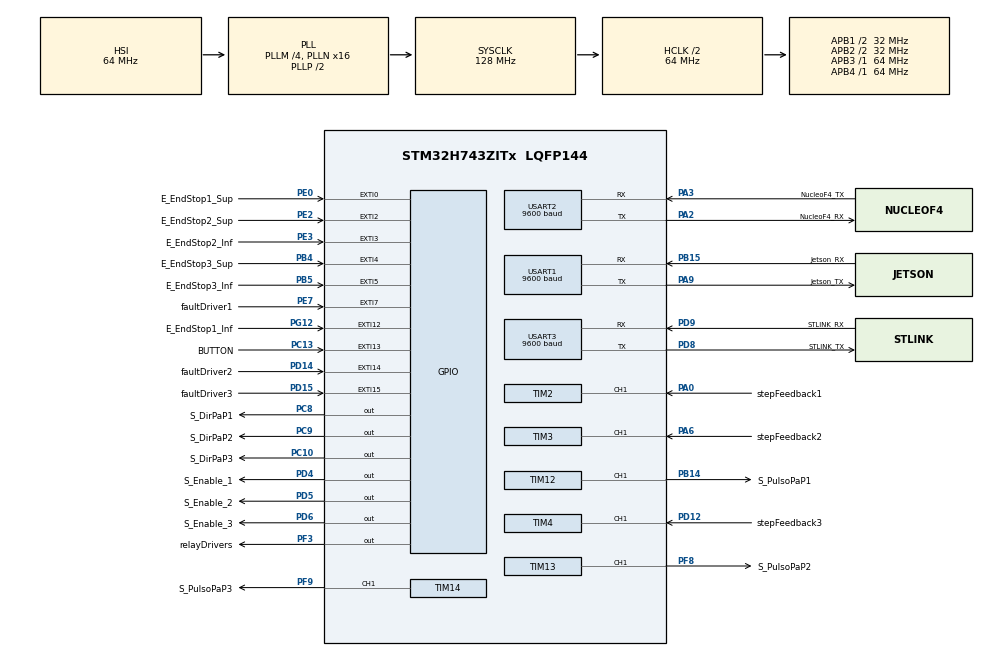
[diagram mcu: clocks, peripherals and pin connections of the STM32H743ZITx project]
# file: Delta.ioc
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Mcu.Family=STM32H7
Mcu.Name=STM32H743ZITx
Mcu.Package=LQFP144
NVIC.EXTI0_IRQn=true\:1\:0\:true\:false\:true\:true\:true\:true
NVIC.EXTI15_10_IRQn=true\:1\:0\:true\:false\:true\:true\:true\:true
NVIC.EXTI2_IRQn=true\:1\:0\:true\:false\:true\:true\:true\:true
NVIC.EXTI3_IRQn=true\:1\:0\:true\:false\:true\:true\:true\:true
NVIC.EXTI4_IRQn=true\:1\:0\:true\:false\:true\:true\:true\:true
NVIC.EXTI9_5_IRQn=true\:1\:0\:true\:false\:true\:true\:true\:true
NVIC.FPU_IRQn=true\:1\:0\:true\:false\:true\:true\:false\:true
NVIC.PriorityGroup=NVIC_PRIORITYGROUP_2
NVIC.TIM15_IRQn=true\:1\:0\:true\:false\:true\:true\:true\:true
NVIC.TIM2_IRQn=true\:1\:0\:true\:false\:true\:true\:true\:true
NVIC.TIM3_IRQn=true\:1\:0\:true\:false\:true\:true\:true\:true
NVIC.TIM4_IRQn=true\:1\:0\:true\:false\:true\:true\:true\:true
NVIC.USART3_IRQn=true\:1\:1\:true\:false\:true\:true\:true\:true
PA0.GPIO_Label=stepFeedback1
PA0.GPIO_ModeDefaultPP=GPIO_MODE_AF_PP
PA0.GPIO_PuPd=GPIO_NOPULL
PA0.GPIO_Speed=GPIO_SPEED_FREQ_LOW
PA0.Signal=S_TIM2_CH1_ETR
PA13\ (JTMS/SWDIO).Mode=Serial_Wire
PA13\ (JTMS/SWDIO).Signal=DEBUG_JTMS-SWDIO
PA14\ (JTCK/SWCLK).Mode=Serial_Wire
PA14\ (JTCK/SWCLK).Signal=DEBUG_JTCK-SWCLK
PA2.GPIO_Label=NucleoF4_RX
PA2.Mode=Asynchronous
PA2.Signal=USART2_TX
PA3.GPIO_Label=NucleoF4_TX
PA3.Mode=Asynchronous
PA3.Signal=USART2_RX
PA6.GPIO_Label=stepFeedback2
PA6.Signal=S_TIM3_CH1
PA9.GPIO_Label=Jetson_TX
PA9.Mode=Asynchronous
PA9.Signal=USART1_TX
PB14.GPIO_Label=S_PulsoPaP1
PB14.GPIO_ModeDefaultPP=GPIO_MODE_AF_PP
PB14.GPIO_PuPd=GPIO_NOPULL
PB14.Signal=S_TIM12_CH1
PB15.GPIO_Label=Jetson_RX
PB15.Mode=Asynchronous
PB15.Signal=USART1_RX
PB4\ (NJTRST).GPIO_Label=E_EndStop3_Sup
PB4\ (NJTRST).GPIO_ModeDefaultEXTI=GPIO_MODE_IT_FALLING
PB4\ (NJTRST).Signal=GPXTI4
PB5.GPIO_Label=E_EndStop3_Inf
PB5.GPIO_ModeDefaultEXTI=GPIO_MODE_IT_FALLING
PB5.Signal=GPXTI5
PC10.GPIO_Label=S_DirPaP3
PC10.GPIO_ModeDefaultOutputPP=GPIO_MODE_OUTPUT_PP
PC10.GPIO_PuPd=GPIO_NOPULL
PC10.Signal=GPIO_Output
PC13.GPIO_Label=BUTTON
PC13.GPIO_PuPd=GPIO_PULLDOWN
PC13.Signal=GPXTI13
PC14-OSC32_IN\ (OSC32_IN).Mode=LSE-External-Oscillator
PC14-OSC32_IN\ (OSC32_IN).Signal=RCC_OSC32_IN
PC15-OSC32_OUT\ (OSC32_OUT).Mode=LSE-External-Oscillator
PC15-OSC32_OUT\ (OSC32_OUT).Signal=RCC_OSC32_OUT
PC8.GPIO_Label=S_DirPaP1
PC8.GPIO_ModeDefaultOutputPP=GPIO_MODE_OUTPUT_PP
PC8.GPIO_PuPd=GPIO_NOPULL
PC8.Signal=GPIO_Output
PC9.GPIO_Label=S_DirPaP2
PC9.GPIO_ModeDefaultOutputPP=GPIO_MODE_OUTPUT_PP
PC9.GPIO_PuPd=GPIO_NOPULL
PC9.PinState=GPIO_PIN_RESET
PC9.Signal=GPIO_Output
PD12.GPIO_Label=stepFeedback3
PD12.Signal=S_TIM4_CH1
PD14.GPIO_Label=faultDriver2
PD14.GPIO_ModeDefaultEXTI=GPIO_MODE_IT_FALLING
PD14.GPIO_PuPd=GPIO_NOPULL
PD14.Signal=GPXTI14
PD15.GPIO_Label=faultDriver3
PD15.GPIO_ModeDefaultEXTI=GPIO_MODE_IT_FALLING
PD15.GPIO_PuPd=GPIO_NOPULL
PD15.Signal=GPXTI15
PD4.GPIO_Label=S_Enable_1
PD4.GPIO_ModeDefaultOutputPP=GPIO_MODE_OUTPUT_PP
PD4.GPIO_PuPd=GPIO_NOPULL
PD4.PinState=GPIO_PIN_RESET
PD4.Signal=GPIO_Output
PD5.GPIO_Label=S_Enable_2
PD5.GPIO_ModeDefaultOutputPP=GPIO_MODE_OUTPUT_OD
PD5.GPIO_PuPd=GPIO_NOPULL
PD5.PinState=GPIO_PIN_RESET
PD5.Signal=GPIO_Output
PD6.GPIO_Label=S_Enable_3
PD6.GPIO_ModeDefaultOutputPP=GPIO_MODE_OUTPUT_OD
PD6.GPIO_PuPd=GPIO_NOPULL
PD6.PinState=GPIO_PIN_RESET
PD6.Signal=GPIO_Output
PD8.GPIO_Label=STLINK_TX
PD8.Mode=Asynchronous
PD8.Signal=USART3_TX
PD9.GPIO_Label=STLINK_RX
PD9.Mode=Asynchronous
PD9.Signal=USART3_RX
PE0.GPIO_Label=E_EndStop1_Sup
PE0.GPIO_ModeDefaultEXTI=GPIO_MODE_IT_FALLING
PE0.GPIO_PuPd=GPIO_NOPULL
PE0.Signal=GPXTI0
PE2.GPIO_Label=E_EndStop2_Sup
PE2.GPIO_ModeDefaultEXTI=GPIO_MODE_IT_FALLING
PE2.GPIO_PuPd=GPIO_NOPULL
PE2.Signal=GPXTI2
PE3.GPIO_Label=E_EndStop2_Inf
PE3.GPIO_ModeDefaultEXTI=GPIO_MODE_IT_FALLING
PE3.GPIO_PuPd=GPIO_NOPULL
PE3.Signal=GPXTI3
PE7.GPIO_Label=faultDriver1
PE7.GPIO_ModeDefaultEXTI=GPIO_MODE_IT_FALLING
PE7.GPIO_PuPd=GPIO_NOPULL
PE7.Signal=GPXTI7
PF3.GPIO_Label=relayDrivers
PF3.Signal=GPIO_Output
PF8.GPIO_Label=S_PulsoPaP2
PF8.GPIO_ModeDefaultPP=GPIO_MODE_AF_PP
PF8.GPIO_PuPd=GPIO_NOPULL
PF8.Signal=S_TIM13_CH1
PF9.GPIO_Label=S_PulsoPaP3
PF9.GPIO_ModeDefaultPP=GPIO_MODE_AF_PP
PF9.GPIO_PuPd=GPIO_NOPULL
PF9.Signal=S_TIM14_CH1
PG12.GPIO_Label=E_EndStop1_Inf
PG12.GPIO_ModeDefaultEXTI=GPIO_MODE_IT_FALLING
PG12.GPIO_PuPd=GPIO_NOPULL
PG12.Signal=GPXTI12
PH0-OSC_IN\ (PH0).Mode=HSE-External-Oscillator
PH0-OSC_IN\ (PH0).Signal=RCC_OSC_IN
PH1-OSC_OUT\ (PH1).Mode=HSE-External-Oscillator
PH1-OSC_OUT\ (PH1).Signal=RCC_OSC_OUT
ProjectManager.HeapSize=0x200
ProjectManager.StackSize=0x400
ProjectManager.TargetToolchain=STM32CubeIDE
RCC.ADCFreq_Value=129000000
RCC.APB1Freq_Value=32000000
RCC.APB2Freq_Value=32000000
RCC.APB3Freq_Value=64000000
RCC.APB4Freq_Value=64000000
RCC.CortexFreq_Value=128000000
RCC.D2PPRE1=RCC_APB1_DIV2
RCC.D2PPRE2=RCC_APB2_DIV2
RCC.DIVM1=4
RCC.DIVN1=16
RCC.HCLKFreq_Value=64000000
RCC.HPRE=RCC_HCLK_DIV2
RCC.PLLFRACN=0
RCC.SYSCLKFreq_VALUE=128000000
RCC.SYSCLKSource=RCC_SYSCLKSOURCE_PLLCLK
RCC.USBFreq_Value=128000000
SH.S_TIM12_CH1.0=TIM12_CH1,PWM Generation1 CH1
SH.S_TIM13_CH1.0=TIM13_CH1,PWM Generation1 CH1
SH.S_TIM14_CH1.0=TIM14_CH1,PWM Generation1 CH1
SH.S_TIM2_CH1_ETR.0=TIM2_CH1,Input_Capture1_from_TI1
SH.S_TIM3_CH1.0=TIM3_CH1,Input_Capture1_from_TI1
SH.S_TIM4_CH1.0=TIM4_CH1,Input_Capture1_from_TI1
TIM12.AutoReloadPreload=TIM_AUTORELOAD_PRELOAD_DISABLE
TIM12.Channel-PWM\ Generation1\ CH1=TIM_CHANNEL_1
TIM12.Period=0
TIM12.Prescaler=64-1
TIM12.Pulse-PWM\ Generation1\ CH1=0
TIM13.AutoReloadPreload=TIM_AUTORELOAD_PRELOAD_DISABLE
TIM13.Channel=TIM_CHANNEL_1
TIM13.Period=0
TIM13.Prescaler=64-1
TIM13.Pulse=0
TIM14.AutoReloadPreload=TIM_AUTORELOAD_PRELOAD_DISABLE
TIM14.Channel=TIM_CHANNEL_1
TIM14.Period=0
TIM14.Prescaler=64-1
TIM14.Pulse=0
TIM15.Period=64000
TIM2.AutoReloadPreload=TIM_AUTORELOAD_PRELOAD_DISABLE
TIM2.Channel-Input_Capture1_from_TI1=TIM_CHANNEL_1
TIM2.ICPolarity_CH1=TIM_INPUTCHANNELPOLARITY_RISING
TIM2.Period=65535
TIM2.Prescaler=0
TIM3.Channel-Input_Capture1_from_TI1=TIM_CHANNEL_1
TIM4.Channel-Input_Capture1_from_TI1=TIM_CHANNEL_1
TIM5.Prescaler=0
USART1.BaudRate=9600
USART1.VirtualMode-Asynchronous=VM_ASYNC
USART2.BaudRate=9600
USART2.VirtualMode-Asynchronous=VM_ASYNC
USART3.BaudRate=9600
USART3.VirtualMode-Asynchronous=VM_ASYNC
VP_TIM12_VS_ClockSourceINT.Mode=Internal
VP_TIM13_VS_ClockSourceINT.Mode=Enable_Timer
VP_TIM14_VS_ClockSourceINT.Mode=Enable_Timer
VP_TIM15_VS_ClockSourceINT.Mode=Internal
VP_TIM2_VS_ClockSourceINT.Mode=Internal
VP_TIM3_VS_ClockSourceINT.Mode=Internal
VP_TIM4_VS_ClockSourceINT.Mode=Internal
VP_TIM5_VS_ClockSourceINT.Mode=Internal
board=NUCLEO-H743ZI2

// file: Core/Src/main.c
/* USER CODE BEGIN Header */
/**
 ******************************************************************************
 * @file           : main.c
 * @brief          : Main program body
 ******************************************************************************
 * @attention
 *
 * <h2><center>&copy; Copyright (c) 2020 STMicroelectronics.
 * All rights reserved.</center></h2>
 *
 * This software component is licensed by ST under BSD 3-Clause license,
 * the "License"; You may not use this file except in compliance with the
 * License. You may obtain a copy of the License at:
 *                        opensource.org/licenses/BSD-3-Clause
 *
 ******************************************************************************
 */
/* USER CODE END Header */
#include "main.h"
#include "tim.h"
#include "usart.h"
#include "gpio.h"

/* USER CODE BEGIN Includes */
#include <string.h>
#include "stdio.h"
#include "stdlib.h"
#include "math.h"
#include "motor.h"
#include "homing.h"
#include "interpretaComando.h"
#include "statesMachine.h"
#include "trajectory.h"
//#include "inverseJacobian.h"
/* USER CODE END Includes */

/* USER CODE BEGIN PV */
Motor motor1, motor2,motor3;

double time;
uint8_t cm0;				//Flag start transmit

/* USER CODE END PV */

void SystemClock_Config(void);

int main(void)
{

  /* MCU Configuration--------------------------------------------------------*/

  /* Reset of all peripherals, Initializes the Flash interface and the Systick. */
  HAL_Init();

  /* Configure the system clock */
  SystemClock_Config();

  /* Initialize all configured peripherals */
  MX_GPIO_Init();
  MX_TIM2_Init();
  MX_USART3_UART_Init();
  MX_TIM12_Init();
  MX_TIM13_Init();
  MX_TIM14_Init();
  MX_TIM5_Init();
  MX_TIM15_Init();
  MX_USART2_UART_Init();
  MX_USART1_UART_Init();
  MX_TIM3_Init();
  MX_TIM4_Init();

  /* Infinite loop */
	while (1) {

    /* USER CODE BEGIN 3 */

		statesMachineLoop();

	}

  /* USER CODE END 3 */
}

void SystemClock_Config(void)
{
  RCC_OscInitTypeDef RCC_OscInitStruct = {0};
  RCC_ClkInitTypeDef RCC_ClkInitStruct = {0};

  /** Supply configuration update enable
  */
  HAL_PWREx_ConfigSupply(PWR_LDO_SUPPLY);

  /** Configure the main internal regulator output voltage
  */
  __HAL_PWR_VOLTAGESCALING_CONFIG(PWR_REGULATOR_VOLTAGE_SCALE3);

  while(!__HAL_PWR_GET_FLAG(PWR_FLAG_VOSRDY)) {}

  /** Initializes the RCC Oscillators according to the specified parameters
  * in the RCC_OscInitTypeDef structure.
  */
  RCC_OscInitStruct.OscillatorType = RCC_OSCILLATORTYPE_HSI;
  RCC_OscInitStruct.HSIState = RCC_HSI_DIV1;
  RCC_OscInitStruct.HSICalibrationValue = RCC_HSICALIBRATION_DEFAULT;
  RCC_OscInitStruct.PLL.PLLState = RCC_PLL_ON;
  RCC_OscInitStruct.PLL.PLLSource = RCC_PLLSOURCE_HSI;
  RCC_OscInitStruct.PLL.PLLM = 4;
  RCC_OscInitStruct.PLL.PLLN = 16;
  RCC_OscInitStruct.PLL.PLLP = 2;
  RCC_OscInitStruct.PLL.PLLQ = 2;
  RCC_OscInitStruct.PLL.PLLR = 2;
  RCC_OscInitStruct.PLL.PLLRGE = RCC_PLL1VCIRANGE_3;
  RCC_OscInitStruct.PLL.PLLVCOSEL = RCC_PLL1VCOWIDE;
  RCC_OscInitStruct.PLL.PLLFRACN = 0;
  if (HAL_RCC_OscConfig(&RCC_OscInitStruct) != HAL_OK)
  {
    Error_Handler();
  }

  /** Initializes the CPU, AHB and APB buses clocks
  */
  RCC_ClkInitStruct.ClockType = RCC_CLOCKTYPE_HCLK|RCC_CLOCKTYPE_SYSCLK
                              |RCC_CLOCKTYPE_PCLK1|RCC_CLOCKTYPE_PCLK2
                              |RCC_CLOCKTYPE_D3PCLK1|RCC_CLOCKTYPE_D1PCLK1;
  RCC_ClkInitStruct.SYSCLKSource = RCC_SYSCLKSOURCE_PLLCLK;
  RCC_ClkInitStruct.SYSCLKDivider = RCC_SYSCLK_DIV1;
  RCC_ClkInitStruct.AHBCLKDivider = RCC_HCLK_DIV2;
  RCC_ClkInitStruct.APB3CLKDivider = RCC_APB3_DIV1;
  RCC_ClkInitStruct.APB1CLKDivider = RCC_APB1_DIV2;
  RCC_ClkInitStruct.APB2CLKDivider = RCC_APB2_DIV2;
  RCC_ClkInitStruct.APB4CLKDivider = RCC_APB4_DIV1;

  if (HAL_RCC_ClockConfig(&RCC_ClkInitStruct, FLASH_LATENCY_1) != HAL_OK)
  {
    Error_Handler();
  }
}

/* USER CODE BEGIN 4 */
void HAL_GPIO_EXTI_Callback(uint16_t GPIO_Pin) {

	switch( GPIO_Pin){

		 case E_EndStop1_Inf_Pin:

			 Stop_PWM_MOTOR_1;
			 Stop_PWM_MOTOR_2;
			 Stop_PWM_MOTOR_3;

			 HAL_TIM_Base_Stop_IT(&htim15);
			 HAL_TIM_Base_Stop(&htim5);

			 HAL_TIM_IC_Stop(&htim2, TIM_CHANNEL_1);
			 HAL_TIM_IC_Stop(&htim3, TIM_CHANNEL_1);
			 HAL_TIM_IC_Stop(&htim4, TIM_CHANNEL_1);

			 endStopAlarmInf = true;
			 HAL_UART_Transmit(&huart3,(uint8_t*)"S5\n", 4, 100);
			 state = FAULT;
			 break;

		 case E_EndStop1_Sup_Pin:
			 Stop_PWM_MOTOR_1;
			 Stop_PWM_MOTOR_2;
			 Stop_PWM_MOTOR_3;

			 HAL_TIM_Base_Stop_IT(&htim15);
			 HAL_TIM_Base_Stop(&htim5);

			 HAL_TIM_IC_Stop(&htim2, TIM_CHANNEL_1);
			 HAL_TIM_IC_Stop(&htim3, TIM_CHANNEL_1);
			 HAL_TIM_IC_Stop(&htim4, TIM_CHANNEL_1);

			 upperESalarm = true;
			 HAL_UART_Transmit(&huart3,(uint8_t*)"S5\n", 4, 100);
			 state = FAULT;
			 break;

		 case E_EndStop2_Inf_Pin:
			 Stop_PWM_MOTOR_1;
			 Stop_PWM_MOTOR_2;
			 Stop_PWM_MOTOR_3;

			 HAL_TIM_Base_Stop_IT(&htim15);
			 HAL_TIM_Base_Stop(&htim5);

			 HAL_TIM_IC_Stop(&htim2, TIM_CHANNEL_1);
			 HAL_TIM_IC_Stop(&htim3, TIM_CHANNEL_1);
			 HAL_TIM_IC_Stop(&htim4, TIM_CHANNEL_1);

			 endStopAlarmInf = true;
			 HAL_UART_Transmit(&huart3,(uint8_t*)"S5\n", 4, 100);
			 state = FAULT;
			 break;

		 case E_EndStop2_Sup_Pin:
			 Stop_PWM_MOTOR_1;
			 Stop_PWM_MOTOR_2;
			 Stop_PWM_MOTOR_3;

			 HAL_TIM_Base_Stop_IT(&htim15);
			 HAL_TIM_Base_Stop(&htim5);

			 HAL_TIM_IC_Stop(&htim2, TIM_CHANNEL_1);
			 HAL_TIM_IC_Stop(&htim3, TIM_CHANNEL_1);
			 HAL_TIM_IC_Stop(&htim4, TIM_CHANNEL_1);

			 upperESalarm = true;
			 HAL_UART_Transmit(&huart3,(uint8_t*)"S5\n", 4, 100);
			 state = FAULT;
			 break;

		 case E_EndStop3_Inf_Pin:
			 Stop_PWM_MOTOR_1;
			 Stop_PWM_MOTOR_2;
			 Stop_PWM_MOTOR_3;

			 HAL_TIM_Base_Stop_IT(&htim15);
			 HAL_TIM_Base_Stop(&htim5);

			 HAL_TIM_IC_Stop(&htim2, TIM_CHANNEL_1);
			 HAL_TIM_IC_Stop(&htim3, TIM_CHANNEL_1);
			 HAL_TIM_IC_Stop(&htim4, TIM_CHANNEL_1);

			 endStopAlarmInf = true;
			 HAL_UART_Transmit(&huart3,(uint8_t*)"S5\n", 4, 100);
			 state = FAULT;

			 break;

		 case E_EndStop3_Sup_Pin:
			 Stop_PWM_MOTOR_1;
			 Stop_PWM_MOTOR_2;
			 Stop_PWM_MOTOR_3;

			 HAL_TIM_Base_Stop_IT(&htim15);
			 HAL_TIM_Base_Stop(&htim5);

			 HAL_TIM_IC_Stop(&htim2, TIM_CHANNEL_1);
			 HAL_TIM_IC_Stop(&htim3, TIM_CHANNEL_1);
			 HAL_TIM_IC_Stop(&htim4, TIM_CHANNEL_1);

			 upperESalarm = true;
			 HAL_UART_Transmit(&huart3,(uint8_t*)"S5\n", 4, 100);
			 state = FAULT;
			 break;

		 case BUTTON_Pin:

			 if (!upperESalarm && !endStopAlarmInf && !faultDrivers){
				 continuar = false;
			 }else{continuar = true;}

			 break;

//		 case faultDriver1_Pin:
//			 //continuar = false;
//			 faultDrivers = true;
//			 state = FAULT;
//			 break;
//
//		 case faultDriver2_Pin:
//			 //continuar = false;
//			 faultDrivers = true;
//			 state = FAULT;
//			 break;
//		 case faultDriver3_Pin:
//			 //continuar = false;
//			 faultDrivers = true;
//			 state = FAULT;
//			 break;

		 default: break;

	}

}

void HAL_UART_RxCpltCallback(UART_HandleTypeDef *huart) {

	if (huart->Instance == USART3) {
		char dato;
		dato = rx_data;
		switch (dato) {
		case ':':
			rx_index = 0;
			cm0 = 1;
			break;
		case 8:
			if (rx_index > 0) {
				rx_index--;
			}
			break;
		case '\r':

			while (!(rx_index==30)){
				rx_buffer[rx_index]= (uint8_t) 0;
				rx_index++;
			}

			if (cm0 == 1) {
				rx_buffer[rx_index] = 0;
				interpretaComando();
				cm0 = 0;

			}
			break;
		default:
			if (rx_index < 30) {
				rx_buffer[rx_index++] = dato;
			}
			break;
		}
	}
	HAL_UART_Receive_IT(&huart3, &rx_data, 1); //Receive data (one character only)
}

void HAL_UART_TxCpltCallback(UART_HandleTypeDef *huart) {
	__NOP();
}

void HAL_TIM_IC_CaptureCallback(TIM_HandleTypeDef *htim) {

	if (htim->Instance == TIM2) {
		if (motor1.pMotor == motor1.numStep) {
			motor1.stepReached = true;
		} else {
			motor1.pMotor++;
		}
	}else if (htim->Instance == TIM3){
		if (motor2.pMotor == motor2.numStep) {
			motor2.stepReached = true;
		} else {
			motor2.pMotor++;
		}

	}else if (htim->Instance == TIM4){
		if (motor3.pMotor == motor3.numStep) {
			motor3.stepReached = true;
		} else {
			motor3.pMotor++;
		}

	}

}

void HAL_TIM_PeriodElapsedCallback(TIM_HandleTypeDef *htim) {

	if (htim == &htim15) {  //Timer that update velocity'curve. It interrups every 10 ms

		if (!timeFlag) {
			timeFlag = true;
			TIM5->CNT = 0;	//We start counting from here
		}

		time = (((double) (TIM5->CNT)) * ((double)(TIM5->PSC + 1) / FCL));
	}
}
/* USER CODE END 4 */

void Error_Handler(void)
{
}
